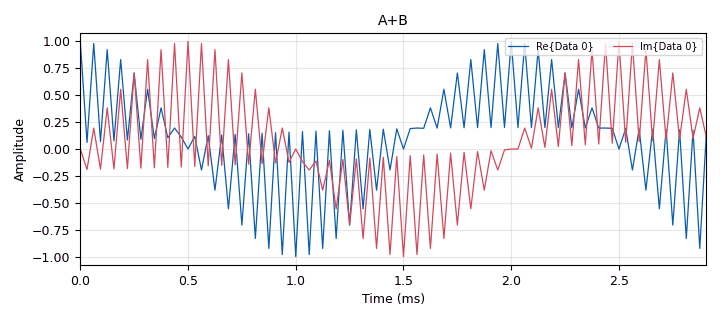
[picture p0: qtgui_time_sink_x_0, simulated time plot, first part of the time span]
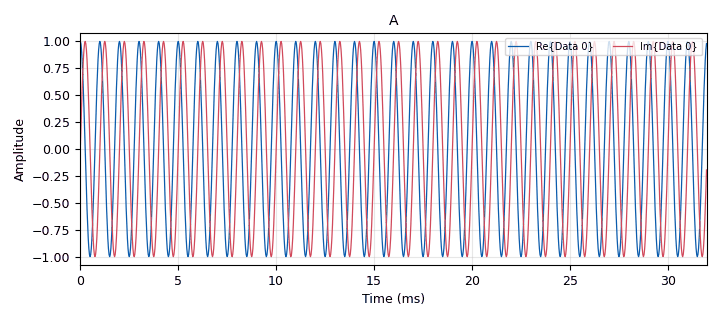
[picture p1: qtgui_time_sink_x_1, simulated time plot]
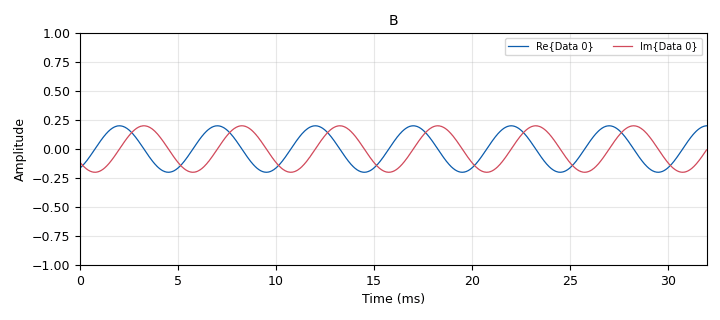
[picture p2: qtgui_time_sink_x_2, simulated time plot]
options:
  parameters:
    author: tao
    generate_options: qt_gui
    id: course_5
    output_language: python
    title: Not titled yet
  states: {}

blocks:
- name: samp_rate
  id: variable
  parameters:
    value: '32000'
  states: {}
- name: analog_sig_source_x_0
  id: analog_sig_source_x
  parameters:
    amp: '1'
    freq: '1000'
    offset: '0'
    phase: '0'
    samp_rate: samp_rate
    type: complex
    waveform: analog.GR_COS_WAVE
  states: {}
- name: analog_sig_source_x_1
  id: analog_sig_source_x
  parameters:
    amp: '0.2'
    freq: '200'
    offset: '0'
    phase: '0'
    samp_rate: samp_rate
    type: complex
    waveform: analog.GR_COS_WAVE
  states: {}
- name: blocks_streams_to_vector_0
  id: blocks_streams_to_vector
  parameters:
    type: complex
  states: {}
- name: blocks_throttle_0
  id: blocks_throttle
  parameters:
    samples_per_second: samp_rate
    type: complex
  states: {}
- name: blocks_throttle_1
  id: blocks_throttle
  parameters:
    samples_per_second: samp_rate
    type: complex
  states: {}
- name: blocks_vector_to_stream_0
  id: blocks_vector_to_stream
  parameters:
    type: complex
  states: {}
- name: blocks_vector_to_streams_0
  id: blocks_vector_to_streams
  parameters:
    type: complex
  states: {}
- name: qtgui_time_sink_x_0
  id: qtgui_time_sink_x
  parameters:
    name: '"A+B"'
    size: '1024'
    srate: samp_rate
    type: complex
  states: {}
- name: qtgui_time_sink_x_1
  id: qtgui_time_sink_x
  parameters:
    name: '"A"'
    size: '1024'
    srate: samp_rate
    type: complex
  states: {}
- name: qtgui_time_sink_x_2
  id: qtgui_time_sink_x
  parameters:
    name: '"B"'
    size: '1024'
    srate: samp_rate
    type: complex
  states: {}

connections:
- [analog_sig_source_x_0, '0', blocks_throttle_0, '0']
- [analog_sig_source_x_1, '0', blocks_throttle_1, '0']
- [blocks_streams_to_vector_0, '0', blocks_vector_to_stream_0, '0']
- [blocks_streams_to_vector_0, '0', blocks_vector_to_streams_0, '0']
- [blocks_throttle_0, '0', blocks_streams_to_vector_0, '0']
- [blocks_throttle_1, '0', blocks_streams_to_vector_0, '1']
- [blocks_vector_to_stream_0, '0', qtgui_time_sink_x_0, '0']
- [blocks_vector_to_streams_0, '0', qtgui_time_sink_x_1, '0']
- [blocks_vector_to_streams_0, '1', qtgui_time_sink_x_2, '0']

metadata:
  file_format: 1
